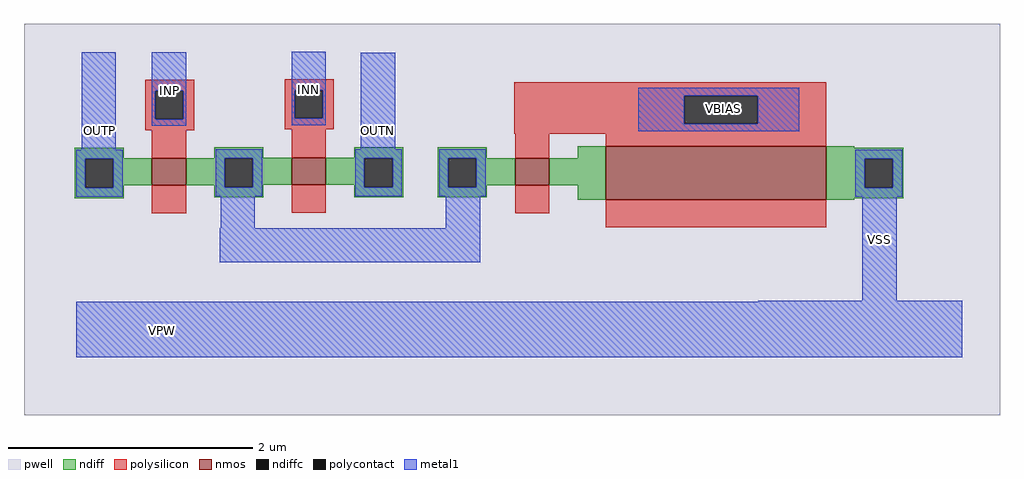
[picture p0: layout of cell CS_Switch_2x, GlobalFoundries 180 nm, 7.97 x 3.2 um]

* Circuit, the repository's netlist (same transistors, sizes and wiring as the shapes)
** sch_path: /home/ducluong/CS_DAC/xschem/CS_Switch_2x.sch
.subckt CS_Switch_2x OUTN OUTP INP INN VBIAS VSS
*.PININFO INP:I INN:I OUTP:O OUTN:O VBIAS:B VSS:B
M1 net1 VBIAS net2 VSS nfet_03v3 L=0.28u W=0.22u nf=1 m=1
M2 OUTN INN net1 VSS nfet_03v3 L=0.28u W=0.22u nf=1 m=1
M3 OUTP INP net1 VSS nfet_03v3 L=0.28u W=0.22u nf=1 m=1
M5 net2 VBIAS VSS VSS nfet_03v3 L=1.8u W=0.44u nf=1 m=1
.ends
.end

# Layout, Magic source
magic
tech gf180mcuD
magscale 1 10
<< pwell >>
rect 687 856 2281 1496
<< nmos >>
rect 896 1232 952 1276
rect 1124 1233 1180 1277
rect 1489 1232 1545 1276
rect 1637 1208 1997 1296
<< ndiff >>
rect 770 1276 850 1293
rect 998 1277 1078 1294
rect 1226 1277 1306 1294
rect 998 1276 1124 1277
rect 770 1275 896 1276
rect 770 1228 787 1275
rect 833 1232 896 1275
rect 952 1232 1015 1276
rect 833 1228 850 1232
rect 770 1211 850 1228
rect 998 1229 1015 1232
rect 1061 1233 1124 1276
rect 1180 1276 1306 1277
rect 1180 1233 1243 1276
rect 1061 1229 1078 1233
rect 998 1212 1078 1229
rect 1226 1229 1243 1233
rect 1289 1229 1306 1276
rect 1226 1212 1306 1229
rect 1363 1276 1443 1294
rect 1591 1276 1637 1296
rect 1363 1229 1380 1276
rect 1426 1232 1489 1276
rect 1545 1232 1637 1276
rect 1426 1229 1443 1232
rect 1363 1212 1443 1229
rect 1591 1208 1637 1232
rect 1997 1293 2043 1296
rect 1997 1275 2123 1293
rect 1997 1228 2060 1275
rect 2106 1228 2123 1275
rect 1997 1211 2123 1228
rect 1997 1208 2043 1211
<< ndiffc >>
rect 787 1228 833 1275
rect 1015 1229 1061 1276
rect 1243 1229 1289 1276
rect 1380 1229 1426 1276
rect 2060 1228 2106 1275
<< polysilicon >>
rect 885 1386 965 1404
rect 885 1340 901 1386
rect 947 1340 965 1386
rect 885 1322 965 1340
rect 1113 1387 1193 1405
rect 1113 1341 1129 1387
rect 1175 1341 1193 1387
rect 1113 1323 1193 1341
rect 1488 1378 1997 1400
rect 1488 1332 1765 1378
rect 1885 1332 1997 1378
rect 896 1276 952 1322
rect 1124 1277 1180 1323
rect 1488 1316 1997 1332
rect 896 1186 952 1232
rect 1124 1187 1180 1233
rect 1489 1276 1545 1316
rect 1637 1296 1997 1316
rect 1489 1186 1545 1232
rect 1637 1163 1997 1208
<< polycontact >>
rect 901 1340 947 1386
rect 1129 1341 1175 1387
rect 1765 1332 1885 1378
<< metal1 >>
rect 781 1290 837 1449
rect 896 1386 952 1449
rect 896 1340 901 1386
rect 947 1340 952 1386
rect 896 1329 952 1340
rect 1124 1387 1180 1450
rect 1124 1341 1129 1387
rect 1175 1341 1180 1387
rect 1124 1330 1180 1341
rect 1237 1291 1293 1448
rect 1690 1378 1953 1391
rect 1690 1332 1765 1378
rect 1885 1332 1953 1378
rect 1690 1320 1953 1332
rect 772 1275 848 1290
rect 772 1228 787 1275
rect 833 1228 848 1275
rect 772 1213 848 1228
rect 1000 1276 1076 1291
rect 1000 1229 1015 1276
rect 1061 1229 1076 1276
rect 1000 1214 1076 1229
rect 1228 1276 1304 1291
rect 1228 1229 1243 1276
rect 1289 1229 1304 1276
rect 1228 1214 1304 1229
rect 1365 1276 1441 1291
rect 1365 1229 1380 1276
rect 1426 1229 1441 1276
rect 1365 1214 1441 1229
rect 2045 1275 2121 1290
rect 2045 1228 2060 1275
rect 2106 1228 2121 1275
rect 1008 1162 1064 1214
rect 1376 1162 1432 1214
rect 2045 1213 2121 1228
rect 1007 1106 1432 1162
rect 2056 1043 2112 1213
rect 1886 1042 2219 1043
rect 772 951 2219 1042
<< labels >>
flabel metal1 900 1334 948 1438 1 FreeSans 400 0 0 0 INP
port 1 nsew signal input
flabel metal1 1128 1336 1176 1440 1 FreeSans 400 0 0 0 INN
port 2 nsew signal input
flabel metal1 784 1222 836 1420 1 FreeSans 400 0 0 0 OUTP
port 3 nsew power bidirectional
flabel metal1 1239 1223 1291 1421 1 FreeSans 400 0 0 0 OUTN
port 4 nsew power bidirectional
flabel metal1 1724 1327 1934 1389 1 FreeSans 400 0 0 0 VBIAS
port 5 nsew power bidirectional
flabel metal1 2059 1001 2111 1286 1 FreeSans 400 0 0 0 VSS
port 6 nsew ground bidirectional
flabel pwell 783 958 1044 1030 1 FreeSans 400 0 0 0 VPW
port 7 nsew ground bidirectional
<< end >>
